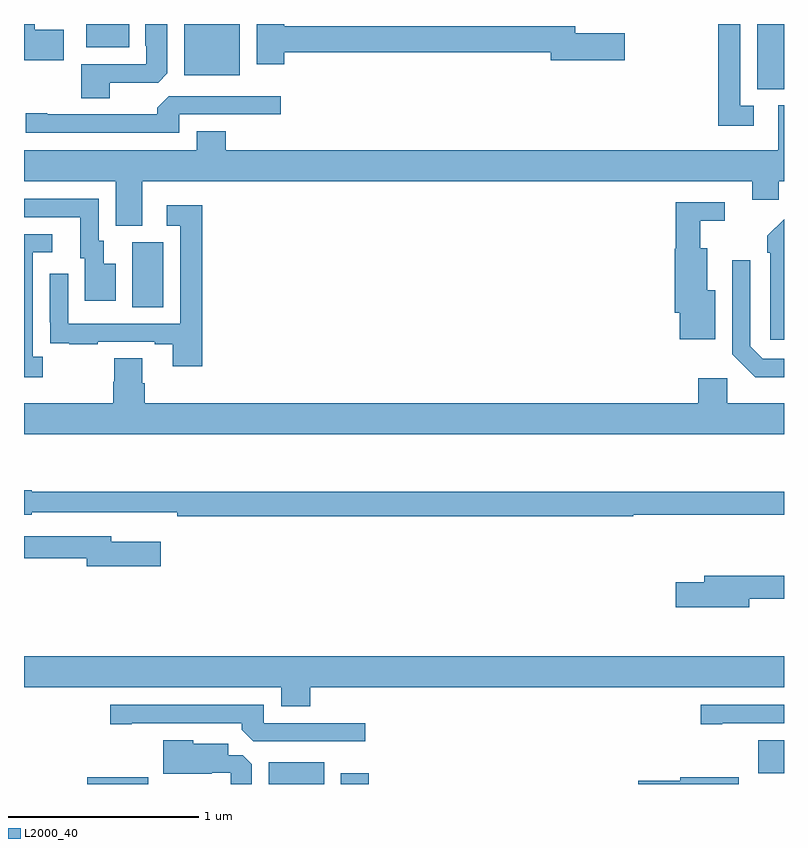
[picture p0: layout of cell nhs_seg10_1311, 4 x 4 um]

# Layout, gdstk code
import gdstk
lib = gdstk.Library(unit=1e-6, precision=1e-09)
def R(c, l, rs):  # rectangles x0, y0, x1, y1
    for r in rs: c.add(gdstk.rectangle(r[:2], r[2:], *l))
def P(c, l, *ps):  # polygons
    for p in ps: c.add(gdstk.Polygon(p, *l))
L2000_40 = (2000, 40)

nhs_seg10_1311 = lib.new_cell('nhs_seg10_1311')
R(nhs_seg10_1311, L2000_40, [(179.333,1274.5,179.653,1274.536), (180.287,1274.5,180.58,1274.614), (180.668,1274.5,180.815,1274.557), (182.864,1274.556,183,1274.731), (179.57,1277.008,179.734,1277.352), (182.858,1278.157,183,1278.5), (179.843,1278.23,180.136,1278.5), (179.327,1278.377,179.554,1278.5)])
P(nhs_seg10_1311, L2000_40, [(179.452,1278.192),(179.706,1278.192),(179.755,1278.241),(179.755,1278.5),(179.639,1278.5),(179.639,1278.385),(179.643,1278.385),(179.643,1278.288),(179.3,1278.288),(179.3,1278.109),(179.452,1278.109)],
  [(182.842,1278.069),(182.769,1278.069),(182.769,1278.5),(182.653,1278.5),(182.653,1277.964),(182.842,1277.964)],
  [(180.371,1278.352),(181.772,1278.352),(181.772,1278.31),(182.161,1278.31),(182.161,1278.452),(181.9,1278.452),(181.9,1278.488),(180.371,1278.488),(180.371,1278.5),(180.224,1278.5),(180.224,1278.288),(180.371,1278.288)],
  [(179.209,1278.471),(179.056,1278.471),(179.056,1278.5),(179,1278.5),(179,1278.308),(179.209,1278.308)],
  [(179.817,1278.024),(180.352,1278.024),(180.352,1278.12),(179.763,1278.12),(179.702,1278.058),(179.702,1278.024),(179.122,1278.024),(179.122,1278.029),(179.01,1278.029),(179.01,1277.928),(179.817,1277.928)],
  [(179.623,1277.672),(182.834,1277.672),(182.834,1277.574),(182.973,1277.574),(182.973,1277.672),(183,1277.672),(183,1278.072),(182.969,1278.072),(182.969,1277.836),(180.062,1277.836),(180.062,1277.935),(179.909,1277.935),(179.909,1277.836),(179,1277.836),(179,1277.672),(179.483,1277.672),(179.483,1277.437),(179.623,1277.437)],
  [(179.482,1277.239),(179.419,1277.239),(179.419,1277.358),(179.394,1277.358),(179.394,1277.58),(179,1277.58),(179,1277.484),(179.297,1277.484),(179.297,1277.268),(179.321,1277.268),(179.321,1277.043),(179.482,1277.043)],
  [(182.638,1277.098),(182.596,1277.098),(182.596,1277.32),(182.56,1277.32),(182.56,1277.465),(182.689,1277.465),(182.689,1277.562),(182.431,1277.562),(182.431,1277.316),(182.426,1277.316),(182.426,1276.98),(182.45,1276.98),(182.45,1276.841),(182.638,1276.841)],
  [(179.939,1277.545),(179.751,1277.545),(179.751,1277.439),(179.823,1277.439),(179.823,1276.923),(179.232,1276.923),(179.232,1277.185),(179.136,1277.185),(179.136,1276.93),(179.137,1276.93),(179.137,1276.821),(179.239,1276.821),(179.239,1276.815),(179.387,1276.815),(179.387,1276.827),(179.687,1276.827),(179.687,1276.815),(179.783,1276.815),(179.783,1276.698),(179.939,1276.698)],
  [(183,1277.472),(182.913,1277.385),(182.913,1277.297),(182.928,1277.297),(182.928,1276.839),(183,1276.839)],
  [(179.098,1276.75),(179.046,1276.75),(179.046,1277.298),(179.149,1277.298),(179.149,1277.394),(179,1277.394),(179,1276.64),(179.098,1276.64)],
  [(183,1276.737),(182.889,1276.737),(182.823,1276.803),(182.823,1277.257),(182.727,1277.257),(182.727,1276.761),(182.848,1276.64),(183,1276.64)],
  [(183,1276.504),(182.7,1276.504),(182.7,1276.636),(182.549,1276.636),(182.549,1276.504),(179.636,1276.504),(179.636,1276.61),(179.623,1276.61),(179.623,1276.742),(179.476,1276.742),(179.476,1276.617),(179.471,1276.617),(179.471,1276.504),(179,1276.504),(179,1276.34),(183,1276.34)],
  [(182.206,1275.918),(183,1275.918),(183,1276.039),(179.04,1276.039),(179.04,1276.047),(179,1276.047),(179,1275.917),(179.04,1275.917),(179.04,1275.93),(179.554,1275.93),(179.554,1275.929),(179.806,1275.929),(179.806,1275.91),(182.206,1275.91)],
  [(179.719,1275.775),(179.458,1275.775),(179.458,1275.804),(179,1275.804),(179,1275.688),(179.33,1275.688),(179.33,1275.646),(179.719,1275.646)],
  [(182.818,1275.474),(183,1275.474),(183,1275.595),(182.579,1275.595),(182.579,1275.561),(182.43,1275.561),(182.43,1275.431),(182.818,1275.431)],
  [(180.506,1275.008),(183,1275.008),(183,1275.172),(179,1275.172),(179,1275.008),(180.353,1275.008),(180.353,1274.909),(180.506,1274.909)],
  [(180.796,1274.82),(180.261,1274.82),(180.261,1274.916),(179.454,1274.916),(179.454,1274.815),(179.566,1274.815),(179.566,1274.82),(180.146,1274.82),(180.146,1274.786),(180.207,1274.724),(180.796,1274.724)],
  [(182.674,1274.82),(183,1274.82),(183,1274.916),(182.562,1274.916),(182.562,1274.815),(182.674,1274.815)],
  [(180.199,1274.603),(180.15,1274.652),(180.076,1274.652),(180.076,1274.713),(179.892,1274.713),(179.892,1274.731),(179.732,1274.731),(179.732,1274.555),(179.987,1274.555),(179.987,1274.559),(180.087,1274.559),(180.087,1274.5),(180.199,1274.5)],
  [(182.761,1274.536),(182.453,1274.536),(182.453,1274.516),(182.234,1274.516),(182.234,1274.5),(182.761,1274.5)])

lib.write_gds('nhs_seg10_1311.gds')
